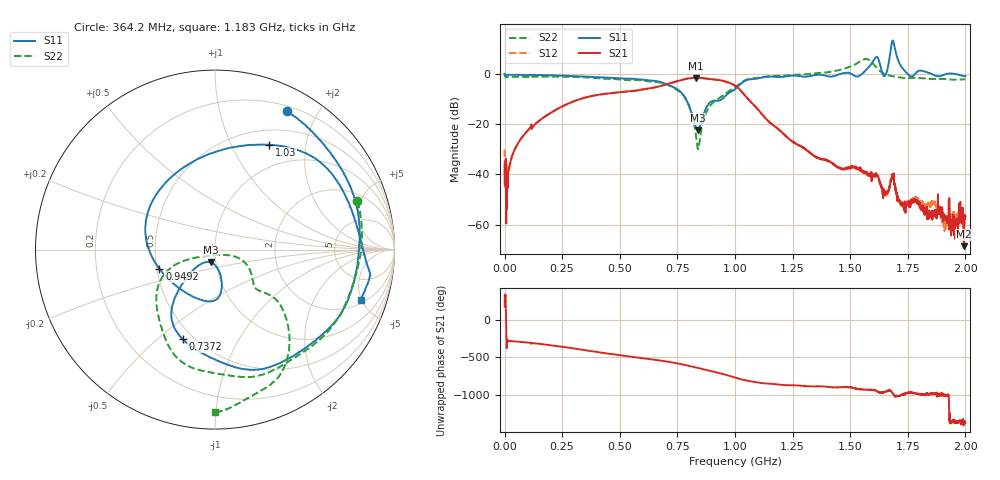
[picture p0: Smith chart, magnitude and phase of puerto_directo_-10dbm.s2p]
# Hz S DB R 50
! CMT, M5065, 19127446, 23.4.5/2
! Date: 23/9/2024 23:55:54
! Data: Format (Calibration Info)
! Freq	S11:dB/Ang(F2)	S21:dB/Ang(F2)	S12:dB/Ang(F2)	S22:dB/Ang(F2)
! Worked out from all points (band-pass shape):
!   2001 points, 300 kHz to 2 GHz, reference 50 ohm
!   highest |S21| = -1.67 dB at 830.2 MHz (marker M1); lowest = -68.6 dB at 1.993 GHz (marker M2)
!   |S21| within 3 dB of the highest: 686.1 MHz to 999.2 MHz (313.1 MHz wide, 37.2 % of centre)
!   lowest |S11| = -22.4 dB at 838.2 MHz (marker M3), VSWR 1.16, Z = 47.1 - j6.76 ohm
!   |S11| at or under -10 dB: 786.4 MHz to 945.5 MHz (159.1 MHz wide, 18.4 % of centre)
!   |S22| runs from -30.0 to 5.8 dB; largest |S21 - S12| = 0.045
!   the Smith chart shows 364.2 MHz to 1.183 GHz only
!   S11 on the Smith chart (normalised r, x): 364.2 MHz: 0.26, +1.62; 737.2 MHz: 0.44, -0.61; 949.2 MHz: 0.52, -0.12; 1.03 GHz: 0.68, +1.41; 1.183 GHz: 2.29, -4.89
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300000  -0.06 178.2  -36.40 173.1  -30.25 -22.9  -0.50 177.7
3.342499e8  -1.12 75.3  -9.94 -35.9  -9.92 -35.9  -1.43 33.5
3.642454e8  -1.23 62.5  -9.18 -50.1  -9.16 -50.1  -1.53 18.8
6.672e8  -3.10 -73.0  -5.15 -177.2  -5.13 -177.2  -3.43 -99.5
7.371894e8  -5.53 -110.0  -3.32 148.7  -3.31 148.7  -5.81 -126.4
8.301755e8  -21.20 -126.5  -1.67 87.5  -1.67 87.5  -24.22 -144.0
8.381743e8  -22.45 -109.1  -1.69 81.6  -1.67 81.8  -29.70 -103.1
9.491576e8  -9.69 -161.0  -2.86 -0.4  -2.85 -0.2  -8.55 -40.6
1.00015e9  -6.19 110.8  -4.72 -45.9  -4.71 -45.8  -5.41 -43.2
1.030146e9  -3.64 62.7  -7.29 -73.1  -7.28 -72.9  -3.33 -52.7
1.183123e9  -1.33 -19.2  -21.65 -137.0  -21.70 -136.9  -0.88 -90.1
1.3341e9  -0.79 -51.0  -32.04 -163.8  -32.07 -164.4  -0.04 -113.8
1.544068e9  -0.64 -72.2  -37.15 160.4  -38.35 158.3  4.94 -156.6
1.610058e9  6.38 -12.6  -40.54 143.6  -40.89 142.6  2.86 151.2
1.66705e9  4.20 -86.0  -45.91 139.9  -46.88 152.0  -0.71 143.7
1.680048e9  11.96 -106.8  -41.23 119.7  -40.87 131.6  -0.96 143.2
1.693046e9  10.45 -158.3  -43.65 69.3  -44.14 78.9  -1.17 142.7
1.704044e9  6.44 -157.2  -50.59 74.0  -49.04 70.0  -1.34 142.4
1.752037e9  -0.38 -86.4  -51.06 106.6  -51.14 119.5  -1.79 133.6
1.804029e9  1.22 -133.9  -51.88 89.5  -51.17 95.3  -1.72 123.7
1.993001e9  -0.95 -108.4  -68.57 52.1  -57.46 55.0  -2.26 75.3
2e9  -0.98 -113.8  -56.64 70.7  -57.63 75.6  -2.26 74.3
